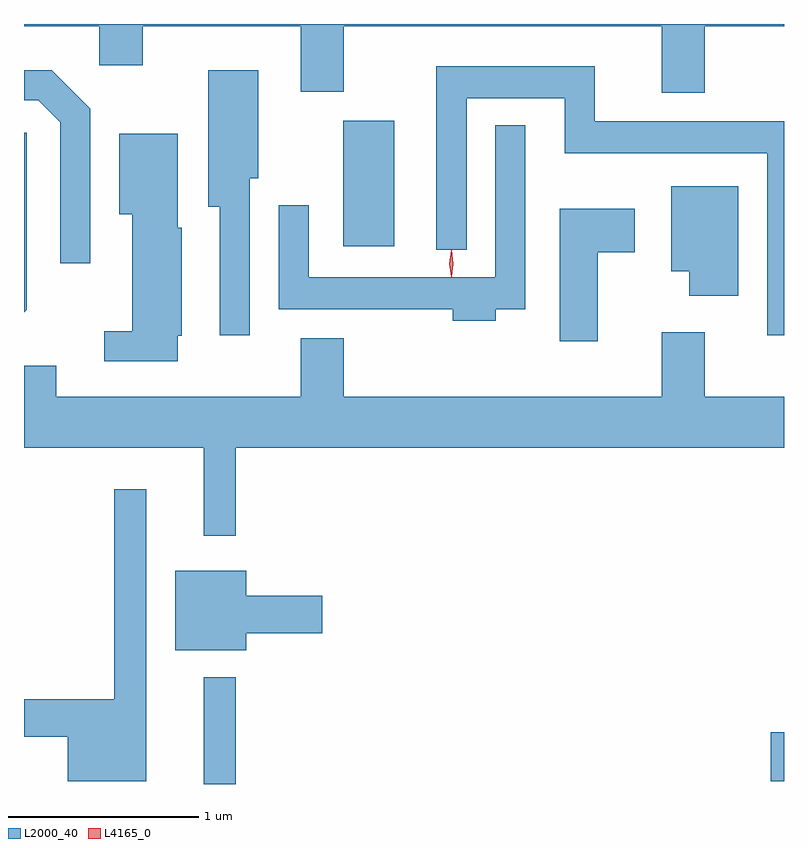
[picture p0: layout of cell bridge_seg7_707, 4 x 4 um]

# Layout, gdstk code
import gdstk
lib = gdstk.Library(unit=1e-6, precision=1e-09)
def R(c, l, rs):  # rectangles x0, y0, x1, y1
    for r in rs: c.add(gdstk.rectangle(r[:2], r[2:], *l))
def P(c, l, *ps):  # polygons
    for p in ps: c.add(gdstk.Polygon(p, *l))
L2000_40 = (2000, 40)
L4165_0 = (4165, 0)

bridge_seg7_707 = lib.new_cell('bridge_seg7_707')
R(bridge_seg7_707, L2000_40, [(605.991,1750.287,606.159,1750.848), (608.976,1750.301,609.045,1750.559), (606.726,1753.116,606.994,1753.779)])
P(bridge_seg7_707, L2000_40, [(608.629,1754.276),(609.045,1754.276),(609.045,1754.287),(605.045,1754.287),(605.045,1754.276),(605.441,1754.276),(605.441,1754.071),(605.669,1754.071),(605.669,1754.276),(606.501,1754.276),(606.501,1753.931),(606.729,1753.931),(606.729,1754.276),(608.401,1754.276),(608.401,1753.926),(608.629,1753.926)],
  [(609.045,1753.774),(608.049,1753.774),(608.049,1754.064),(607.216,1754.064),(607.216,1753.098),(607.374,1753.098),(607.374,1753.896),(607.891,1753.896),(607.891,1753.606),(608.956,1753.606),(608.956,1752.648),(609.045,1752.648)],
  [(606.234,1753.476),(606.279,1753.476),(606.279,1754.044),(606.016,1754.044),(606.016,1753.326),(606.076,1753.326),(606.076,1752.648),(606.234,1752.648)],
  [(605.394,1753.842),(605.192,1754.044),(605.045,1754.044),(605.045,1753.886),(605.119,1753.886),(605.236,1753.769),(605.236,1753.028),(605.394,1753.028)],
  [(607.529,1752.786),(607.684,1752.786),(607.684,1753.753),(607.526,1753.753),(607.526,1752.954),(606.544,1752.954),(606.544,1753.333),(606.386,1753.333),(606.386,1752.786),(607.301,1752.786),(607.301,1752.726),(607.529,1752.726)],
  [(605.059,1752.784),(605.059,1753.714),(605.045,1753.714),(605.045,1752.77)],
  [(605.854,1752.646),(605.874,1752.646),(605.874,1753.214),(605.854,1753.214),(605.854,1753.709),(605.546,1753.709),(605.546,1753.286),(605.616,1753.286),(605.616,1752.669),(605.468,1752.669),(605.468,1752.511),(605.854,1752.511)],
  [(608.804,1753.434),(608.451,1753.434),(608.451,1752.986),(608.546,1752.986),(608.546,1752.856),(608.804,1752.856)],
  [(608.064,1753.086),(608.259,1753.086),(608.259,1753.314),(607.866,1753.314),(607.866,1752.616),(608.064,1752.616)],
  [(606.159,1752.056),(609.045,1752.056),(609.045,1752.324),(608.629,1752.324),(608.629,1752.664),(608.401,1752.664),(608.401,1752.324),(606.729,1752.324),(606.729,1752.634),(606.501,1752.634),(606.501,1752.324),(605.214,1752.324),(605.214,1752.489),(605.045,1752.489),(605.045,1752.056),(605.991,1752.056),(605.991,1751.593),(606.159,1751.593)],
  [(605.689,1751.838),(605.521,1751.838),(605.521,1750.734),(605.045,1750.734),(605.045,1750.536),(605.276,1750.536),(605.276,1750.301),(605.689,1750.301)],
  [(606.214,1751.081),(606.614,1751.081),(606.614,1751.279),(606.214,1751.279),(606.214,1751.409),(605.841,1751.409),(605.841,1750.991),(606.214,1750.991)])
P(bridge_seg7_707, L4165_0, [(607.294,1752.957),(607.294,1752.957),(607.284,1753.026),(607.294,1753.096),(607.294,1753.096),(607.295,1753.096),(607.304,1753.026),(607.295,1752.957)],
  [(607.294,1752.959),(607.294,1752.96),(607.284,1753.026),(607.294,1753.092),(607.294,1753.093),(607.295,1753.092),(607.304,1753.026),(607.295,1752.96)])

lib.write_gds('bridge_seg7_707.gds')
